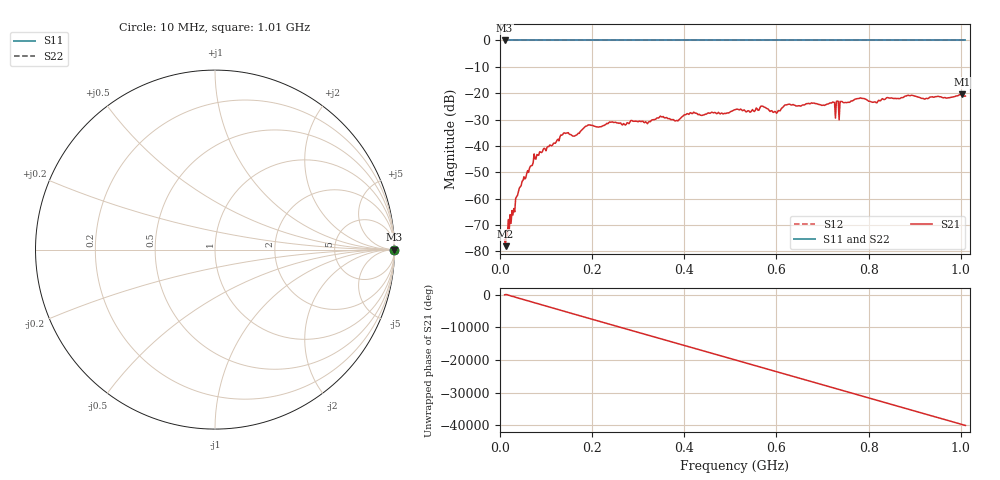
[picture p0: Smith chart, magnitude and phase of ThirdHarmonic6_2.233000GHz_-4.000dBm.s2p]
! 8/17/2025 2:33:17 AM
! C:\ANRITSUVNA\TEMP\TEMP.S2P
! CHANNEL.1
! TR.MEASUREMENT
! RAW.DATA
! RF.CORRECTION.OFF
! AVERAGING.OFF
! IF.BANDWIDTH: 5KHZ
! SWEEPTYPE:  FREQ.SWEEP(Linear)
! Reference Plane Port Info
! PORT:  PORT1  PORT2
! DISTANCE:  0  m  0  m
! TIME:  0  s  0  s
! PHASE.OFFSET:  0  deg.  0  deg.
! LOSS:  0  dB  0  dB
! REF.LOSS:  0  dB  0  dB
! REF.FREQ:  0  Hz  0  Hz
! Power Info
! POWER:  -20  dBm  -20  dBm
! EFF.POWER:  -20  dBm  -20  dBm
! SOURCE.ATTEN:  0  dB  0  dB
! TEST.ATTEN:  0  dB  0  dB
# GHZ S RI R 50.0
! FREQ.GHZ  S11RE  S11IM  S21RE  S21IM  S12RE  S12IM  S22RE  S22IM
!; PortSelection: Port_12
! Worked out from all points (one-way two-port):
!   501 points, 10 MHz to 1.01 GHz, reference 50 ohm
!   highest |S21| = -20.49 dB at 1.002 GHz (marker M1); lowest = -78.0 dB at 12 MHz (marker M2)
!   lowest |S11| = 0.0 dB at 10 MHz (marker M3)
!   |S11| at or under -10 dB: nowhere
!   |S22| runs from 0.0 to 0.0 dB; largest |S21 - S12| = 1.1
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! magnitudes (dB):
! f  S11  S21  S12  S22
! 10 MHz  0.0  -75.6  0.0  0.0
! 12 MHz  0.0  -78.0  0.0  0.0
! 38 MHz  0.0  -58.7  0.0  0.0
! 78 MHz  0.0  -45.0  0.0  0.0
! 136 MHz  0.0  -35.7  0.0  0.0
! 162 MHz  0.0  -36.2  0.0  0.0
! 178 MHz  0.0  -33.9  0.0  0.0
! 344 MHz  0.0  -29.4  0.0  0.0
! 384 MHz  0.0  -30.3  0.0  0.0
! 410 MHz  0.0  -28.0  0.0  0.0
! 510 MHz  0.0  -26.3  0.0  0.0
! 570 MHz  0.0  -24.9  0.0  0.0
! 598 MHz  0.0  -27.0  0.0  0.0
! 622 MHz  0.0  -24.4  0.0  0.0
! 678 MHz  0.0  -23.8  0.0  0.0
! 722 MHz  0.0  -23.3  0.0  0.0
! 732 MHz  0.0  -23.0  0.0  0.0
! 742 MHz  0.0  -23.1  0.0  0.0
! 778 MHz  0.0  -22.0  0.0  0.0
! 844 MHz  0.0  -21.8  0.0  0.0
! 1.002 GHz  0.0  -20.5  0.0  0.0
! 1.01 GHz  0.0  -21.1  0.0  0.0
